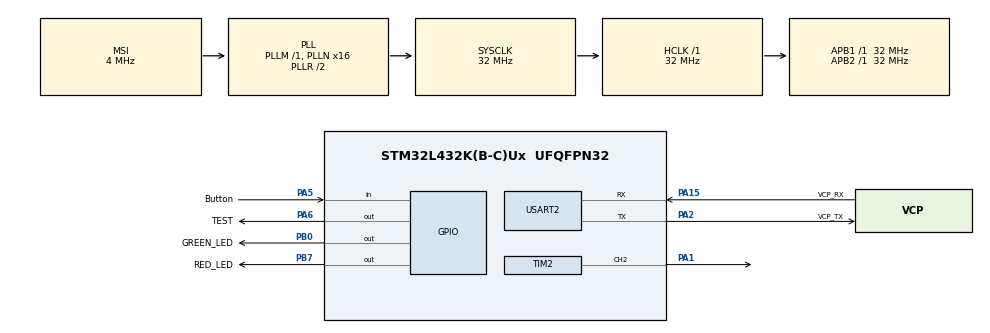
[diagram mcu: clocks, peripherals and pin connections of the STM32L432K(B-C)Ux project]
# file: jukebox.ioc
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Mcu.Family=STM32L4
RCC.MSI_VALUE=4000000
PA14\ (JTCK-SWCLK).Mode=Serial_Wire
RCC.CortexFreq_Value=32000000
PA0.GPIO_Label=MCO [High speed clock in]
PC15-OSC32_OUT\ (PC15).Signal=RCC_OSC32_OUT
PA6.GPIO_Label=TEST
PB0.GPIO_Label=GREEN_LED
PA15\ (JTDI).Signal=USART2_RX
PC15-OSC32_OUT\ (PC15).Mode=LSE-External-Oscillator
PA14\ (JTCK-SWCLK).GPIO_Label=SWCLK
TIM2.Channel-PWM\ Generation2\ CH2=TIM_CHANNEL_2
RCC.SYSCLKSource=RCC_SYSCLKSOURCE_PLLCLK
ProjectManager.StackSize=0x400
PC14-OSC32_IN\ (PC14).Mode=LSE-External-Oscillator
PA14\ (JTCK-SWCLK).Signal=SYS_JTCK-SWCLK
RCC.HSI16_VALUE=16000000
SH.S_TIM2_CH2.0=TIM2_CH2,PWM Generation2 CH2
PA15\ (JTDI).Mode=Asynchronous
ProjectManager.TargetToolchain=Makefile
RCC.HCLKFreq_Value=32000000
RCC.APB2TimFreq_Value=32000000
PA1.Signal=S_TIM2_CH2
RCC.AHBFreq_Value=32000000
PA5.Signal=GPIO_Input
RCC.HSE_VALUE=8000000
board=NUCLEO-L432KC
USART2.VirtualMode-Asynchronous=VM_ASYNC
RCC.VCOOutputFreq_Value=64000000
RCC.PLLMUL=RCC_PLLMUL_4
RCC.APB2Freq_Value=32000000
PA13\ (JTMS-SWDIO).GPIO_Label=SWDIO
PA0.Mode=HSE-External-Clock-Source-for-LittleOrca
PB7.Signal=GPIO_Output
TIM2.Period=122310
PA15\ (JTDI).GPIO_Label=VCP_RX
Mcu.Name=STM32L432K(B-C)Ux
PA2.Signal=USART2_TX
PA0.Signal=RCC_CK_IN
PB7.GPIO_Label=RED_LED
PA13\ (JTMS-SWDIO).Mode=Serial_Wire
RCC.SYSCLKFreq_VALUE=32000000
Mcu.Package=UFQFPN32
PA6.Signal=GPIO_Output
PA5.GPIO_Label=Button
PC14-OSC32_IN\ (PC14).Signal=RCC_OSC32_IN
PA2.GPIO_Label=VCP_TX
ProjectManager.HeapSize=0x200
TIM2.Pulse-PWM\ Generation2\ CH2=122310/2
RCC.HSI_VALUE=16000000
NVIC.PriorityGroup=NVIC_PRIORITYGROUP_4
RCC.PLLN=16
RCC.APB1TimFreq_Value=32000000
PA2.Mode=Asynchronous
PA13\ (JTMS-SWDIO).Signal=SYS_JTMS-SWDIO
RCC.APB1Freq_Value=32000000
PB0.Signal=GPIO_Output
RCC.HSI48_VALUE=48000000

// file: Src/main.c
/* USER CODE BEGIN Header */
/**
  ******************************************************************************
  * @file           : main.c
  * @brief          : Main program body
  ******************************************************************************
  * @attention
  *
  * <h2><center>&copy; Copyright (c) 2021 STMicroelectronics.
  * All rights reserved.</center></h2>
  *
  * This software component is licensed by ST under BSD 3-Clause license,
  * the "License"; You may not use this file except in compliance with the
  * License. You may obtain a copy of the License at:
  *                        opensource.org/licenses/BSD-3-Clause
  *
  ******************************************************************************
  */
/* USER CODE END Header */

#include "main.h"

/* USER CODE BEGIN Includes */
#include <stdbool.h>
/* USER CODE END Includes */

TIM_HandleTypeDef htim2;

UART_HandleTypeDef huart2;

/* USER CODE BEGIN PV */
uint8_t button=0;
bool state = false;

bool Button_pressed()
{

	if( HAL_GPIO_ReadPin(Button_GPIO_Port, Button_Pin)==1 &&state==false)
	{
		button ++;
		state= true;
	}
	else if( HAL_GPIO_ReadPin(Button_GPIO_Port, Button_Pin) == 0 && state == true)
		{
			state = false;
		}

		if(button%2 == 0)
			return true;
		else
			return false;
}

enum notes {
    C4 = 261, // (261 Hz)
    D4 = 293, // (293 Hz)
    E4 = 329, // (329 Hz)
    F4 = 349, // (349 Hz)
    G4 = 392, // (392 Hz)
    A4 = 440, // (440 Hz)
    B4 = 493, // (493 Hz)
    C5 = 523  // (523 Hz)
  };
enum notes A[] = {G4,G4,A4,A4,G4,G4,E4,G4,G4,E4,E4,D4,
                    G4,G4,A4,A4,G4,G4,E4,G4,E4,D4,E4,C4};
enum notes B[]={C4,C4,C4,C4,D4,D4,D4,E4,E4,E4,E4,F4,F4,F4,F4,G4,G4,F4,F4,F4,F4,F4,F4,F4,F4,F4,F4,F4,F4,G4};

static void freq_set(int x){
    int freq = 32000000/x;
    __HAL_TIM_SET_COUNTER(&htim2, 0);
    __HAL_TIM_SET_AUTORELOAD(&htim2 , freq);
    __HAL_TIM_SET_COMPARE(&htim2, TIM_CHANNEL_2, freq/2);

}

static void tone_stop(){
  HAL_TIM_PWM_Stop(&htim2, TIM_CHANNEL_2);
}

static void tone_start(){
  HAL_TIM_PWM_Start(&htim2, TIM_CHANNEL_2);
}

static void red(){
  HAL_GPIO_WritePin(GREEN_LED_GPIO_Port, GREEN_LED_Pin, GPIO_PIN_RESET);
  HAL_GPIO_WritePin(RED_LED_GPIO_Port, RED_LED_Pin, GPIO_PIN_SET);
  __HAL_TIM_SET_COUNTER(&htim2, 0);

}

static void green(){
  HAL_GPIO_WritePin(RED_LED_GPIO_Port, RED_LED_Pin, GPIO_PIN_RESET);
  HAL_GPIO_WritePin(GREEN_LED_GPIO_Port, GREEN_LED_Pin, GPIO_PIN_SET);
  __HAL_TIM_SET_COUNTER(&htim2, 0);

}

/* USER CODE END PV */

void SystemClock_Config(void);
static void MX_GPIO_Init(void);
static void MX_TIM2_Init(void);
static void MX_USART2_UART_Init(void);

/* USER CODE BEGIN 0 */
  void song_A()
   {
   	 //----------melody 1----------------------------------------

    while(1)   // wait if first melody finished without pressing the button
    {
      if(!Button_pressed()) // move to the next melody if button pressed
     		break;
    }
    button++;

 	  for (int i = 0 ; i < sizeof(A)/sizeof(enum notes) ; i++) {
 		  if(Button_pressed())
 		 	  {
 			  freq_set(A[i]);
 	 	    HAL_Delay(500);
        /*if((i%2) == 1){
          red();
        }else{
          green();
        }*/
 	      /*  Make each note sound and cut off 10 milliseconds  */
 	 	    tone_stop() ;

 	 	    HAL_Delay(10);

 	 	    tone_start() ;

 	 	    if(i == (sizeof(A)/sizeof(enum notes)-1))
 	 	    {
 	 	      i=0;
 	 	    }

 		 	  }
 		 else     // if button pressed move to the next melody
 			  {
 			// HAL_Delay(2000);
 				break;
 		  	}

 	 	}
 	 //----------melody 2----------------------------------------

 	  while(1)   // wait if first melody finished without pressing the button
 	    {
 	    if(!Button_pressed()) // move to the next melody if button pressed
 	     	break;
 	    }
 	    button++;
 	 	  for (int i = 0 ; i < sizeof(B)/sizeof(enum notes) ; i++) {
 	 		  if(Button_pressed())

 	 		  {
 	 			  freq_set(B[i]);

 	 			  HAL_Delay(500);
          /*if((i%2) == 1){
            red();
          }else{
            green();
          }*/
  	 	    /*  Make each note sound and cut off 10 milliseconds  */

 	 	 	    tone_stop() ;
 	 	 	    HAL_Delay(10);

 	 	 	    tone_start() ;

 	 	 	    if(i == (sizeof(B)/sizeof(enum notes)-1))
 	 	 	      {i=0;}

 	 		 }
 	 		 else     // if button pressed move to the next melody
 	 		{break;}

      }
//----------melody 3----------------------------------------

 	   while(1)   // wait if first melody finished without pressing the button
 	  {
 		 if(!Button_pressed()) // move to the next melody if button pressed
 	 	 break;
 	  }
 	  button++;

 	  for (int i = 0 ; i < sizeof(B)/sizeof(enum notes) ; i++) {
 	    if(Button_pressed())

 	 	  {
 	 	    freq_set(B[i]);
 	 	    HAL_Delay(100);
        /*if((i%2) == 1){
          red();
        }else{
          green();
        }*/
	 /*  Make each note sound and cut off 10 milliseconds  */

 	 	 tone_stop() ;
 	 	 HAL_Delay(10);

 	 	 tone_start() ;

 	  if(i == (sizeof(B)/sizeof(enum notes)-1))
 	 	 	{i=0;}

 	 	}
 	  else     // if button pressed move to the next melody
 	 	 		{break; }
 	 	}
 	      tone_stop();
 	      HAL_Delay(5000);
 	      tone_start();

   }
/* USER CODE END 0 */

int main(void)
{

  /* MCU Configuration--------------------------------------------------------*/

  /* Reset of all peripherals, Initializes the Flash interface and the Systick. */
  HAL_Init();

  /* Configure the system clock */
  SystemClock_Config();

  /* Initialize all configured peripherals */
  MX_GPIO_Init();
  MX_TIM2_Init();
  MX_USART2_UART_Init();
  /* USER CODE BEGIN 2 */

  while (1)
  {

	song_A();

  }
  /* USER CODE END 2 */

  /* Infinite loop */
  /* USER CODE BEGIN WHILE */
  //while (1)
  //{
    /* USER CODE END WHILE */

}

void SystemClock_Config(void)
{
  RCC_OscInitTypeDef RCC_OscInitStruct = {0};
  RCC_ClkInitTypeDef RCC_ClkInitStruct = {0};
  RCC_PeriphCLKInitTypeDef PeriphClkInit = {0};

  /** Configure LSE Drive Capability
  */
  HAL_PWR_EnableBkUpAccess();
  __HAL_RCC_LSEDRIVE_CONFIG(RCC_LSEDRIVE_LOW);
  /** Initializes the CPU, AHB and APB busses clocks
  */
  RCC_OscInitStruct.OscillatorType = RCC_OSCILLATORTYPE_LSE|RCC_OSCILLATORTYPE_MSI;
  RCC_OscInitStruct.LSEState = RCC_LSE_ON;
  RCC_OscInitStruct.MSIState = RCC_MSI_ON;
  RCC_OscInitStruct.MSICalibrationValue = 0;
  RCC_OscInitStruct.MSIClockRange = RCC_MSIRANGE_6;
  RCC_OscInitStruct.PLL.PLLState = RCC_PLL_ON;
  RCC_OscInitStruct.PLL.PLLSource = RCC_PLLSOURCE_MSI;
  RCC_OscInitStruct.PLL.PLLM = 1;
  RCC_OscInitStruct.PLL.PLLN = 16;
  RCC_OscInitStruct.PLL.PLLP = RCC_PLLP_DIV7;
  RCC_OscInitStruct.PLL.PLLQ = RCC_PLLQ_DIV2;
  RCC_OscInitStruct.PLL.PLLR = RCC_PLLR_DIV2;
  if (HAL_RCC_OscConfig(&RCC_OscInitStruct) != HAL_OK)
  {
    Error_Handler();
  }
  /** Initializes the CPU, AHB and APB busses clocks
  */
  RCC_ClkInitStruct.ClockType = RCC_CLOCKTYPE_HCLK|RCC_CLOCKTYPE_SYSCLK
                              |RCC_CLOCKTYPE_PCLK1|RCC_CLOCKTYPE_PCLK2;
  RCC_ClkInitStruct.SYSCLKSource = RCC_SYSCLKSOURCE_PLLCLK;
  RCC_ClkInitStruct.AHBCLKDivider = RCC_SYSCLK_DIV1;
  RCC_ClkInitStruct.APB1CLKDivider = RCC_HCLK_DIV1;
  RCC_ClkInitStruct.APB2CLKDivider = RCC_HCLK_DIV1;

  if (HAL_RCC_ClockConfig(&RCC_ClkInitStruct, FLASH_LATENCY_1) != HAL_OK)
  {
    Error_Handler();
  }
  PeriphClkInit.PeriphClockSelection = RCC_PERIPHCLK_USART2;
  PeriphClkInit.Usart2ClockSelection = RCC_USART2CLKSOURCE_PCLK1;
  if (HAL_RCCEx_PeriphCLKConfig(&PeriphClkInit) != HAL_OK)
  {
    Error_Handler();
  }
  /** Configure the main internal regulator output voltage
  */
  if (HAL_PWREx_ControlVoltageScaling(PWR_REGULATOR_VOLTAGE_SCALE1) != HAL_OK)
  {
    Error_Handler();
  }
  /** Enable MSI Auto calibration
  */
  HAL_RCCEx_EnableMSIPLLMode();
}

static void MX_TIM2_Init(void)
{

  TIM_MasterConfigTypeDef sMasterConfig = {0};
  TIM_OC_InitTypeDef sConfigOC = {0};

  htim2.Instance = TIM2;
  htim2.Init.Prescaler = 0;
  htim2.Init.CounterMode = TIM_COUNTERMODE_UP;
  htim2.Init.Period = 122310;
  htim2.Init.ClockDivision = TIM_CLOCKDIVISION_DIV1;
  htim2.Init.AutoReloadPreload = TIM_AUTORELOAD_PRELOAD_DISABLE;
  if (HAL_TIM_PWM_Init(&htim2) != HAL_OK)
  {
    Error_Handler();
  }
  sMasterConfig.MasterOutputTrigger = TIM_TRGO_RESET;
  sMasterConfig.MasterSlaveMode = TIM_MASTERSLAVEMODE_DISABLE;
  if (HAL_TIMEx_MasterConfigSynchronization(&htim2, &sMasterConfig) != HAL_OK)
  {
    Error_Handler();
  }
  sConfigOC.OCMode = TIM_OCMODE_PWM1;
  sConfigOC.Pulse = 122310/2;
  sConfigOC.OCPolarity = TIM_OCPOLARITY_HIGH;
  sConfigOC.OCFastMode = TIM_OCFAST_DISABLE;
  if (HAL_TIM_PWM_ConfigChannel(&htim2, &sConfigOC, TIM_CHANNEL_2) != HAL_OK)
  {
    Error_Handler();
  }
  HAL_TIM_MspPostInit(&htim2);

}

static void MX_USART2_UART_Init(void)
{

  huart2.Instance = USART2;
  huart2.Init.BaudRate = 115200;
  huart2.Init.WordLength = UART_WORDLENGTH_8B;
  huart2.Init.StopBits = UART_STOPBITS_1;
  huart2.Init.Parity = UART_PARITY_NONE;
  huart2.Init.Mode = UART_MODE_TX_RX;
  huart2.Init.HwFlowCtl = UART_HWCONTROL_NONE;
  huart2.Init.OverSampling = UART_OVERSAMPLING_16;
  huart2.Init.OneBitSampling = UART_ONE_BIT_SAMPLE_DISABLE;
  huart2.AdvancedInit.AdvFeatureInit = UART_ADVFEATURE_NO_INIT;
  if (HAL_UART_Init(&huart2) != HAL_OK)
  {
    Error_Handler();
  }

}

static void MX_GPIO_Init(void)
{
  GPIO_InitTypeDef GPIO_InitStruct = {0};

  /* GPIO Ports Clock Enable */
  __HAL_RCC_GPIOC_CLK_ENABLE();
  __HAL_RCC_GPIOA_CLK_ENABLE();
  __HAL_RCC_GPIOB_CLK_ENABLE();

  /*Configure GPIO pin Output Level */
  HAL_GPIO_WritePin(TEST_GPIO_Port, TEST_Pin, GPIO_PIN_RESET);

  /*Configure GPIO pin Output Level */
  HAL_GPIO_WritePin(GPIOB, GREEN_LED_Pin|RED_LED_Pin, GPIO_PIN_RESET);

  /*Configure GPIO pin : Button_Pin */
  GPIO_InitStruct.Pin = Button_Pin;
  GPIO_InitStruct.Mode = GPIO_MODE_INPUT;
  GPIO_InitStruct.Pull = GPIO_NOPULL;
  HAL_GPIO_Init(Button_GPIO_Port, &GPIO_InitStruct);

  /*Configure GPIO pin : TEST_Pin */
  GPIO_InitStruct.Pin = TEST_Pin;
  GPIO_InitStruct.Mode = GPIO_MODE_OUTPUT_PP;
  GPIO_InitStruct.Pull = GPIO_NOPULL;
  GPIO_InitStruct.Speed = GPIO_SPEED_FREQ_LOW;
  HAL_GPIO_Init(TEST_GPIO_Port, &GPIO_InitStruct);

  /*Configure GPIO pins : GREEN_LED_Pin RED_LED_Pin */
  GPIO_InitStruct.Pin = GREEN_LED_Pin|RED_LED_Pin;
  GPIO_InitStruct.Mode = GPIO_MODE_OUTPUT_PP;
  GPIO_InitStruct.Pull = GPIO_NOPULL;
  GPIO_InitStruct.Speed = GPIO_SPEED_FREQ_LOW;
  HAL_GPIO_Init(GPIOB, &GPIO_InitStruct);

}

void Error_Handler(void)
{
}

/************************ (C) COPYRIGHT STMicroelectronics *****END OF FILE****/
